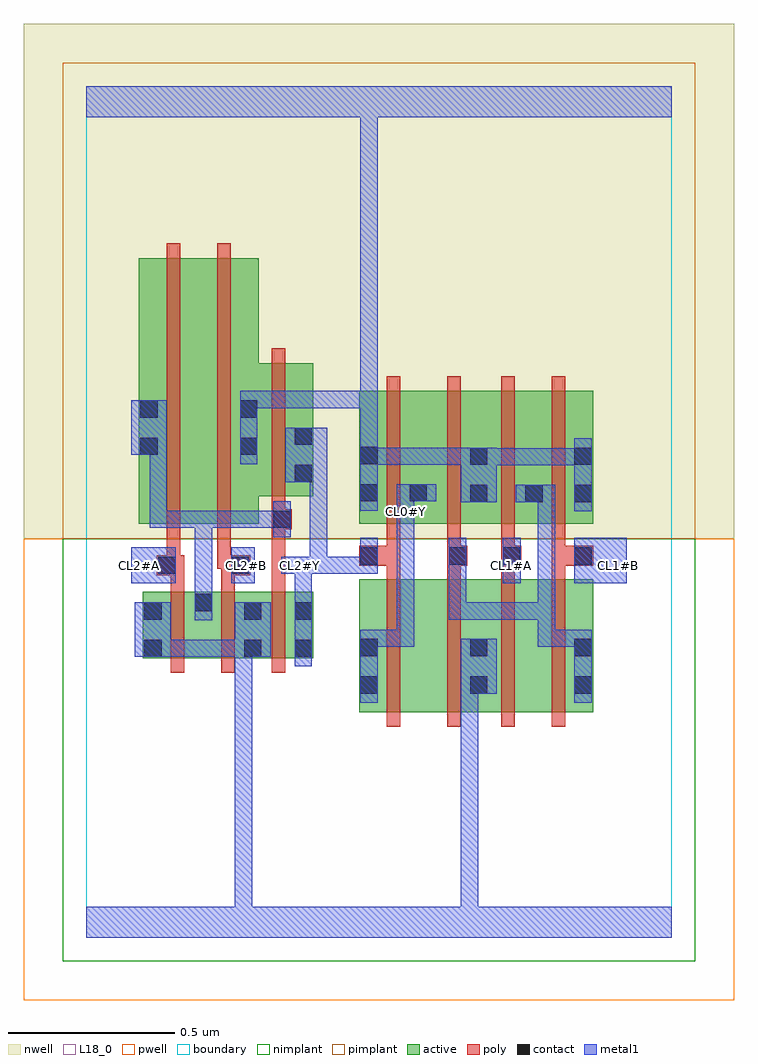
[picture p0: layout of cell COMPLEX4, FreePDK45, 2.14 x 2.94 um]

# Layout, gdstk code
import gdstk
lib = gdstk.Library(unit=1e-6, precision=1e-09)
def R(c, l, rs):  # rectangles x0, y0, x1, y1
    for r in rs: c.add(gdstk.rectangle(r[:2], r[2:], *l))
def A(c, l, x, y, w, h, nx, ny, dx, dy):  # array of equal rectangles
    R(c, l, [(x+i*dx, y+j*dy, x+i*dx+w, y+j*dy+h) for i in range(nx) for j in range(ny)])
active = (1, 0)
pwell = (2, 0)
nwell = (3, 0)
nimplant = (4, 0)
pimplant = (5, 0)
poly = (9, 0)
contact = (10, 0)
metal1 = (11, 0)
L18_0 = (18, 0)
boundary = (235, 0)

complex4 = lib.new_cell('COMPLEX4')
R(complex4, active, [(0.82,0.678,1.03,1.078), (1.03,0.678,1.21,1.078), (1.15,0.678,1.344,1.078), (1.15,0.678,1.21,0.902), (1.344,0.678,1.524,1.078), (0.82,0.73,0.88,1.078), (1.464,0.73,1.524,1.078), (0.17,0.84,0.23,1.04), (0.17,0.84,0.382,1.04), (0.322,0.84,0.53,1.04), (0.47,0.84,0.53,1.04), (0.47,0.84,0.682,1.04), (0.622,0.84,0.682,1.04), (0.322,0.956,0.382,1.04), (0.158,1.244,0.338,2.044), (0.158,1.244,0.218,2.044), (0.338,1.244,0.518,2.044), (0.82,1.244,0.88,1.644), (0.82,1.244,1.028,1.644), (0.968,1.244,1.028,1.644), (0.968,1.244,1.21,1.644), (1.15,1.244,1.21,1.644), (1.15,1.244,1.376,1.644), (1.316,1.244,1.376,1.644), (1.316,1.244,1.524,1.644), (1.464,1.244,1.524,1.644), (0.458,1.328,0.518,1.644), (0.458,1.328,0.682,1.728), (0.622,1.328,0.682,1.644)])
R(complex4, pwell, [(-0.188,-0.188,1.948,1.2)])
R(complex4, nwell, [(-0.188,1.2,1.948,2.748)])
R(complex4, nimplant, [(-0.072,-0.072,1.832,1.2)])
R(complex4, pimplant, [(-0.072,1.2,1.832,2.632)])
A(complex4, poly, 0.254, 0.796, 0.04, 0.288, 3, 1, 0.152, 0)
R(complex4, poly, [(0.904,0.634,0.944,1.122), (1.086,0.634,1.126,1.122), (1.248,0.634,1.288,1.122), (1.4,0.634,1.44,1.122), (0.254,1.044,0.294,1.13), (0.406,1.044,0.446,1.13), (0.558,1.044,0.598,1.268), (0.904,1.082,0.944,1.158), (1.086,1.082,1.126,1.158), (1.248,1.082,1.288,1.158), (1.4,1.082,1.44,1.158), (0.212,1.09,0.294,1.15), (0.406,1.09,0.492,1.15), (0.242,1.11,0.282,1.15), (0.242,1.11,0.282,1.15), (0.242,1.11,0.282,1.24), (0.394,1.11,0.434,1.24), (0.394,1.11,0.446,1.15), (0.406,1.11,0.446,1.15), (0.82,1.118,0.944,1.178), (1.086,1.118,1.146,1.178), (1.248,1.118,1.288,1.158), (1.248,1.118,1.288,1.158), (1.248,1.118,1.308,1.178), (1.4,1.118,1.44,1.158), (1.4,1.118,1.44,1.158), (1.4,1.118,1.524,1.178), (0.904,1.138,0.944,1.24), (0.904,1.138,0.944,1.178), (0.904,1.138,0.944,1.178), (1.086,1.138,1.126,1.24), (1.086,1.138,1.126,1.178), (1.086,1.138,1.126,1.178), (1.248,1.138,1.288,1.24), (1.4,1.138,1.44,1.24), (0.242,1.2,0.282,2.088), (0.394,1.2,0.434,2.088), (0.904,1.2,0.944,1.688), (1.086,1.2,1.126,1.688), (1.248,1.2,1.288,1.688), (1.4,1.2,1.44,1.688), (0.558,1.228,0.598,1.268), (0.558,1.228,0.598,1.268), (0.558,1.228,0.618,1.288), (0.558,1.248,0.598,1.324), (0.558,1.284,0.598,1.772)])
R(complex4, contact, [(0.824,0.734,0.876,0.786), (1.154,0.734,1.206,0.786), (1.468,0.734,1.52,0.786), (0.174,0.844,0.226,0.896), (0.474,0.844,0.526,0.896), (0.626,0.844,0.678,0.896), (0.824,0.846,0.876,0.898), (1.154,0.846,1.206,0.898), (1.468,0.846,1.52,0.898), (0.174,0.956,0.226,1.008), (0.474,0.956,0.526,1.008), (0.626,0.956,0.678,1.008), (0.326,0.982,0.378,1.034), (0.216,1.094,0.268,1.146), (0.436,1.094,0.488,1.146), (0.824,1.122,0.876,1.174), (1.09,1.122,1.142,1.174), (1.252,1.122,1.304,1.174), (1.468,1.122,1.52,1.174), (0.562,1.232,0.614,1.284), (1.154,1.31,1.206,1.362), (1.32,1.31,1.372,1.362), (1.468,1.31,1.52,1.362), (0.824,1.312,0.876,1.364), (0.972,1.312,1.024,1.364), (0.626,1.37,0.678,1.422), (1.154,1.422,1.206,1.474), (1.468,1.422,1.52,1.474), (0.824,1.424,0.876,1.476), (0.162,1.452,0.214,1.504), (0.462,1.452,0.514,1.504), (0.626,1.482,0.678,1.534), (0.162,1.564,0.214,1.616), (0.462,1.564,0.514,1.616)])
R(complex4, metal1, [(0,0,1.76,0.092), (0.446,0.04,0.498,0.092), (0.446,0.04,0.498,0.092), (0.446,0.04,0.498,0.092), (0.446,0.04,0.498,0.092), (0.446,0.04,0.498,0.092), (0.446,0.04,0.498,0.092), (0.446,0.04,0.498,0.092), (0.446,0.04,0.498,0.092), (0.446,0.04,0.498,0.092), (0.446,0.04,0.498,0.092), (0.446,0.04,0.498,0.092), (0.446,0.04,0.498,0.092), (0.446,0.04,0.498,0.092), (0.446,0.04,0.498,0.092), (0.446,0.04,0.498,0.092), (0.446,0.04,0.498,0.092), (0.446,0.04,0.498,0.896), (1.126,0.04,1.178,0.092), (1.126,0.04,1.178,0.092), (1.126,0.04,1.178,0.092), (1.126,0.04,1.178,0.092), (1.126,0.04,1.178,0.092), (1.126,0.04,1.178,0.092), (1.126,0.04,1.178,0.092), (1.126,0.04,1.178,0.092), (1.126,0.04,1.178,0.786), (0.824,0.706,0.876,0.926), (1.468,0.706,1.52,0.926), (1.126,0.734,1.178,0.786), (1.126,0.734,1.178,0.786), (1.126,0.734,1.178,0.786), (1.126,0.734,1.178,0.786), (1.126,0.734,1.234,0.898), (0.626,0.816,0.678,1.036), (0.146,0.844,0.254,1.008), (0.202,0.844,0.254,0.896), (0.202,0.844,0.254,0.896), (0.202,0.844,0.378,0.896), (0.326,0.844,0.378,0.896), (0.326,0.844,0.498,0.896), (0.446,0.844,0.498,0.896), (0.446,0.844,0.498,0.896), (0.446,0.844,0.554,1.008), (0.824,0.874,0.876,0.926), (0.824,0.874,0.876,0.926), (0.824,0.874,0.986,0.926), (0.934,0.874,0.986,0.926), (0.934,0.874,0.986,1.278), (1.358,0.874,1.41,0.926), (1.358,0.874,1.52,0.926), (1.358,0.874,1.41,1.008), (1.468,0.874,1.52,0.926), (1.468,0.874,1.52,0.926), (0.326,0.954,0.378,1.062), (1.09,0.956,1.41,1.008), (1.09,0.956,1.142,1.146), (1.358,0.956,1.41,1.008), (1.358,0.956,1.41,1.008), (1.358,0.956,1.41,1.008), (1.358,0.956,1.41,1.362), (0.626,0.984,0.678,1.146), (0.326,1.01,0.378,1.062), (0.326,1.01,0.378,1.062), (0.326,1.01,0.378,1.284), (0.134,1.066,0.268,1.174), (0.436,1.066,0.506,1.174), (1.252,1.066,1.306,1.202), (1.468,1.066,1.626,1.202), (0.586,1.094,0.724,1.146), (0.672,1.094,0.724,1.146), (0.672,1.094,0.724,1.146), (0.672,1.094,0.876,1.146), (0.672,1.094,0.724,1.422), (0.824,1.094,0.876,1.146), (0.824,1.094,0.876,1.146), (0.824,1.094,0.876,1.202), (1.09,1.094,1.142,1.146), (1.09,1.094,1.142,1.202), (0.562,1.204,0.614,1.312), (0.934,1.226,0.986,1.334), (0.19,1.232,0.242,1.284), (0.19,1.232,0.242,1.284), (0.19,1.232,0.242,1.284), (0.19,1.232,0.378,1.284), (0.19,1.232,0.242,1.504), (0.326,1.232,0.378,1.284), (0.326,1.232,0.378,1.284), (0.326,1.232,0.378,1.284), (0.326,1.232,0.528,1.284), (0.476,1.232,0.528,1.284), (0.476,1.232,0.614,1.284), (0.934,1.282,0.986,1.364), (1.468,1.282,1.52,1.502), (0.824,1.284,0.876,1.504), (1.126,1.31,1.234,1.474), (1.292,1.31,1.41,1.362), (1.358,1.31,1.41,1.362), (1.358,1.31,1.41,1.362), (0.934,1.312,0.996,1.364), (0.944,1.312,0.996,1.364), (0.944,1.312,1.052,1.364), (0.598,1.37,0.724,1.534), (1.182,1.42,1.344,1.472), (1.292,1.42,1.344,1.472), (1.292,1.42,1.344,1.472), (1.292,1.42,1.344,1.472), (1.292,1.42,1.52,1.472), (1.468,1.42,1.52,1.472), (1.468,1.42,1.52,1.472), (0.824,1.422,0.876,1.474), (0.824,1.422,0.876,1.474), (0.824,1.422,0.986,1.474), (0.934,1.422,0.986,1.474), (0.934,1.422,0.986,1.474), (0.934,1.422,0.986,1.474), (0.934,1.422,1.178,1.474), (0.462,1.424,0.514,1.644), (0.134,1.452,0.242,1.616), (0.824,1.452,0.876,1.644), (0.462,1.592,0.638,1.644), (0.586,1.592,0.638,1.644), (0.586,1.592,0.638,1.644), (0.586,1.592,0.638,1.644), (0.586,1.592,0.876,1.644), (0.824,1.592,0.876,1.644), (0.824,1.592,0.876,1.644), (0.824,1.592,0.876,1.644), (0.824,1.592,0.876,1.644), (0.824,1.592,0.876,1.644), (0.824,1.592,0.876,1.644), (0.824,1.592,0.876,1.644), (0.824,1.592,0.876,1.644), (0.824,1.592,0.876,1.644), (0.824,1.592,0.876,1.644), (0.824,1.592,0.876,1.644), (0.824,1.592,0.876,1.644), (0.824,1.592,0.876,1.644), (0.824,1.592,0.876,2.52), (0,2.468,1.76,2.56), (0.824,2.468,0.876,2.52), (0.824,2.468,0.876,2.52)])
R(complex4, L18_0, [(0,0,1.76,0.092), (0.446,0.04,0.498,0.092), (0.446,0.04,0.498,0.092), (0.446,0.04,0.498,0.092), (0.446,0.04,0.498,0.092), (0.446,0.04,0.498,0.092), (0.446,0.04,0.498,0.092), (0.446,0.04,0.498,0.092), (0.446,0.04,0.498,0.092), (0.446,0.04,0.498,0.092), (0.446,0.04,0.498,0.092), (0.446,0.04,0.498,0.092), (0.446,0.04,0.498,0.092), (0.446,0.04,0.498,0.092), (0.446,0.04,0.498,0.092), (0.446,0.04,0.498,0.092), (0.446,0.04,0.498,0.092), (0.446,0.04,0.498,0.896), (1.126,0.04,1.178,0.092), (1.126,0.04,1.178,0.092), (1.126,0.04,1.178,0.092), (1.126,0.04,1.178,0.092), (1.126,0.04,1.178,0.092), (1.126,0.04,1.178,0.092), (1.126,0.04,1.178,0.092), (1.126,0.04,1.178,0.092), (1.126,0.04,1.178,0.786), (0.824,0.706,0.876,0.926), (1.126,0.734,1.234,0.898), (1.126,0.734,1.178,0.786), (1.126,0.734,1.178,0.786), (1.126,0.734,1.178,0.786), (1.126,0.734,1.178,0.786), (0.626,0.816,0.678,1.036), (0.146,0.844,0.254,1.008), (0.202,0.844,0.254,0.896), (0.202,0.844,0.254,0.896), (0.202,0.844,0.378,0.896), (0.326,0.844,0.378,0.896), (0.326,0.844,0.498,0.896), (0.446,0.844,0.554,1.008), (0.446,0.844,0.498,0.896), (0.446,0.844,0.498,0.896), (0.824,0.874,0.876,0.926), (0.824,0.874,0.876,0.926), (0.824,0.874,0.986,0.926), (0.934,0.874,0.986,0.926), (0.934,0.874,0.986,1.278), (0.626,0.984,0.678,1.146), (0.134,1.066,0.268,1.174), (0.436,1.066,0.506,1.174), (1.252,1.066,1.306,1.202), (1.468,1.066,1.626,1.202), (0.134,1.094,0.186,1.146), (0.454,1.094,0.506,1.146), (0.586,1.094,0.724,1.146), (0.614,1.094,0.666,1.146), (0.672,1.094,0.724,1.146), (0.672,1.094,0.724,1.146), (0.672,1.094,0.724,1.422), (0.672,1.094,0.876,1.146), (0.824,1.094,0.876,1.146), (0.824,1.094,0.876,1.146), (0.824,1.094,0.876,1.202), (1.254,1.094,1.306,1.146), (1.574,1.094,1.626,1.146), (0.934,1.226,0.986,1.334), (0.934,1.254,0.986,1.306), (0.934,1.282,0.986,1.364), (1.468,1.282,1.52,1.502), (0.824,1.284,0.876,1.504), (1.126,1.31,1.234,1.474), (0.934,1.312,0.996,1.364), (0.944,1.312,0.996,1.364), (0.944,1.312,1.052,1.364), (0.598,1.37,0.724,1.534), (1.182,1.42,1.344,1.472), (1.292,1.42,1.344,1.472), (1.292,1.42,1.344,1.472), (1.292,1.42,1.344,1.472), (1.292,1.42,1.52,1.472), (1.468,1.42,1.52,1.472), (1.468,1.42,1.52,1.472), (0.824,1.422,0.876,1.474), (0.824,1.422,0.876,1.474), (0.824,1.422,0.986,1.474), (0.934,1.422,0.986,1.474), (0.934,1.422,0.986,1.474), (0.934,1.422,0.986,1.474), (0.934,1.422,1.178,1.474), (0.462,1.424,0.514,1.644), (0.824,1.452,0.876,1.644), (0.462,1.592,0.638,1.644), (0.586,1.592,0.638,1.644), (0.586,1.592,0.638,1.644), (0.586,1.592,0.638,1.644), (0.586,1.592,0.876,1.644), (0.824,1.592,0.876,1.644), (0.824,1.592,0.876,1.644), (0.824,1.592,0.876,1.644), (0.824,1.592,0.876,1.644), (0.824,1.592,0.876,1.644), (0.824,1.592,0.876,1.644), (0.824,1.592,0.876,1.644), (0.824,1.592,0.876,1.644), (0.824,1.592,0.876,1.644), (0.824,1.592,0.876,1.644), (0.824,1.592,0.876,1.644), (0.824,1.592,0.876,1.644), (0.824,1.592,0.876,1.644), (0.824,1.592,0.876,2.52), (0,2.468,1.76,2.56), (0.824,2.468,0.876,2.52), (0.824,2.468,0.876,2.52)])
R(complex4, boundary, [(0,0,1.76,2.56)])
complex4.add(gdstk.Label('CL0#Y', (0.96,1.28), layer=11, texttype=0))
complex4.add(gdstk.Label('CL1#A', (1.28,1.12), layer=11, texttype=0))
complex4.add(gdstk.Label('CL1#B', (1.6,1.12), layer=11, texttype=0))
complex4.add(gdstk.Label('CL2#A', (0.16,1.12), layer=11, texttype=0))
complex4.add(gdstk.Label('CL2#B', (0.48,1.12), layer=11, texttype=0))
complex4.add(gdstk.Label('CL2#Y', (0.64,1.12), layer=11, texttype=0))

lib.write_gds('COMPLEX4.gds')
